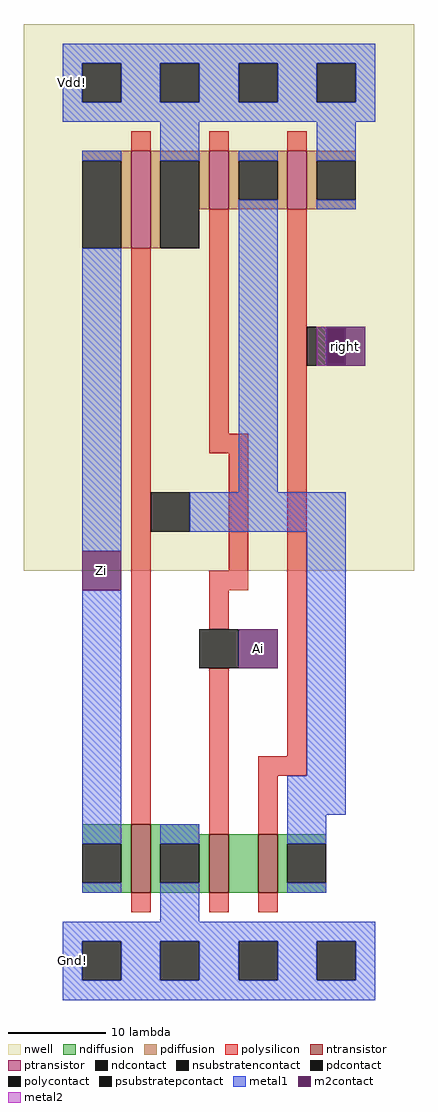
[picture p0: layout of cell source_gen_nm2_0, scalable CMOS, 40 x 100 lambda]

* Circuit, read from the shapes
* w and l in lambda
.subckt source_gen_nm2_0 Ai Gnd! Vdd! Zi right
M1 Gnd! n1 Zi Gnd! nfet w=7 l=2
M2 n2 Ai Gnd! Gnd! nfet w=6 l=2
M3 n1 right n2 Gnd! nfet w=6 l=2
M4 Vdd! n1 Zi Vdd! pfet w=10 l=2
M5 n1 Ai Vdd! Vdd! pfet w=6 l=2
M6 Vdd! right n1 Vdd! pfet w=6 l=2
.ends

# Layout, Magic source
magic
tech scmos
<< nwell >>
rect -6 40 34 96
<< ntransistor >>
rect 5 7 7 14
rect 13 7 15 13
rect 18 7 20 13
<< ptransistor >>
rect 5 73 7 83
rect 13 77 15 83
rect 21 77 23 83
<< ndiffusion >>
rect 0 12 5 14
rect 4 8 5 12
rect 0 7 5 8
rect 7 13 12 14
rect 7 12 13 13
rect 7 8 8 12
rect 12 8 13 12
rect 7 7 13 8
rect 15 7 18 13
rect 20 12 25 13
rect 20 8 21 12
rect 20 7 25 8
<< pdiffusion >>
rect 0 82 5 83
rect 4 73 5 82
rect 7 82 13 83
rect 7 73 8 82
rect 12 77 13 82
rect 15 82 21 83
rect 15 78 16 82
rect 20 78 21 82
rect 15 77 21 78
rect 23 82 28 83
rect 23 78 24 82
rect 23 77 28 78
<< ndcontact >>
rect 0 8 4 12
rect 8 8 12 12
rect 21 8 25 12
<< pdcontact >>
rect 0 73 4 82
rect 8 73 12 82
rect 16 78 20 82
rect 24 78 28 82
<< psubstratepcontact >>
rect 0 -2 4 2
rect 8 -2 12 2
rect 16 -2 20 2
rect 24 -2 28 2
<< nsubstratencontact >>
rect 0 88 4 92
rect 8 88 12 92
rect 16 88 20 92
rect 24 88 28 92
<< polysilicon >>
rect 5 83 7 85
rect 13 83 15 85
rect 21 83 23 85
rect 5 14 7 73
rect 13 54 15 77
rect 13 52 17 54
rect 15 40 17 52
rect 13 38 17 40
rect 13 34 15 38
rect 13 13 15 30
rect 21 21 23 77
rect 18 19 23 21
rect 18 13 20 19
rect 5 5 7 7
rect 13 5 15 7
rect 18 5 20 7
<< polycontact >>
rect 7 44 11 48
rect 12 30 16 34
rect 23 61 27 65
<< metal1 >>
rect -2 92 30 94
rect -2 88 0 92
rect 4 88 8 92
rect 12 88 16 92
rect 20 88 24 92
rect 28 88 30 92
rect -2 86 30 88
rect 0 82 4 83
rect 8 82 12 86
rect 16 82 20 83
rect 0 42 4 73
rect 16 48 20 78
rect 24 82 28 86
rect 24 77 28 78
rect 11 44 27 48
rect 0 12 4 38
rect 23 19 27 44
rect 21 15 27 19
rect 0 7 4 8
rect 8 12 12 14
rect 8 4 12 8
rect 21 12 25 15
rect 21 7 25 8
rect -2 2 30 4
rect -2 -2 0 2
rect 4 -2 8 2
rect 12 -2 16 2
rect 20 -2 24 2
rect 28 -2 30 2
rect -2 -4 30 -2
<< m2contact >>
rect 25 61 27 65
rect 27 61 29 65
rect 0 38 4 42
rect 16 30 20 34
<< metal2 >>
rect 24 61 25 65
<< labels >>
rlabel metal1 -1 90 -1 90 3 Vdd!
rlabel metal1 -1 0 -1 0 3 Gnd!
rlabel m2contact 27 63 27 63 1 right
rlabel m2contact 18 32 18 32 1 Ai
rlabel m2contact 2 40 2 40 1 Zi
<< end >>
